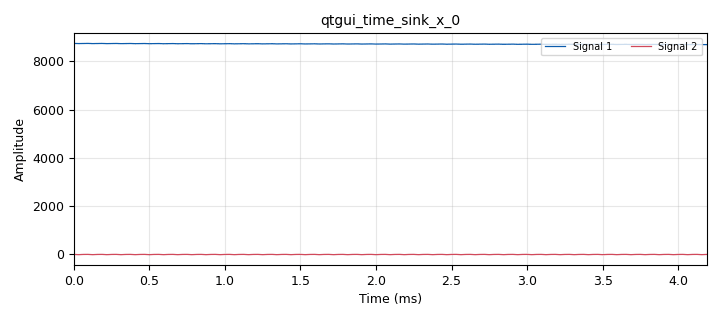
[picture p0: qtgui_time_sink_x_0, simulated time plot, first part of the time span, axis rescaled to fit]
options:
  parameters:
    author: labcom
    generate_options: qt_gui
    id: diferenciador
    output_language: python
    title: Not titled yet
  states: {}

blocks:
- name: samp_rate
  id: variable
  parameters:
    value: '32000'
  states: {}
- name: blocks_throttle_0
  id: blocks_throttle
  parameters:
    samples_per_second: samp_rate
    type: float
  states: {}
- name: blocks_vector_source_x_0
  id: blocks_vector_source_x
  parameters:
    repeat: 'True'
    type: float
    vector: (2, 4, -7)
  states: {}
- name: epy_block_0
  id: epy_block
  parameters:
    _source_code: "import numpy as np\nfrom gnuradio import gr\n\nclass e_Diff(gr.sync_block):\n    def __init__(self, example_param=1.0):  # only default arguments here\n        gr.sync_block.__init__(\n            self,\n            name=\"e_Diff\",  # will show up in GRC\n            in_sig=[np.float32],\n            out_sig=[np.float32]\n        )\n        self.acum_anterior = 0\n        self.example_param = example_param\n\n    def work(self, input_items, output_items):\n        x = input_items[0]  # Input signal.\n        y0 = output_items[0]  # Differential cumulative signal\n        N = len(x)\n        diff = np.cumsum(x) - self.acum_anterior\n        self.acum_anterior = diff[-1]\n        y0[:] = diff\n        return len(y0)\n\n"
    example_param: '1.0'
  states: {}
- name: qtgui_time_sink_x_0
  id: qtgui_time_sink_x
  parameters:
    nconnections: '2'
    size: '1024'
    srate: samp_rate
    type: float
  states: {}

connections:
- [blocks_throttle_0, '0', epy_block_0, '0']
- [blocks_throttle_0, '0', qtgui_time_sink_x_0, '1']
- [blocks_vector_source_x_0, '0', blocks_throttle_0, '0']
- [epy_block_0, '0', qtgui_time_sink_x_0, '0']

metadata:
  file_format: 1
  grc_version: 3.10.5.1
